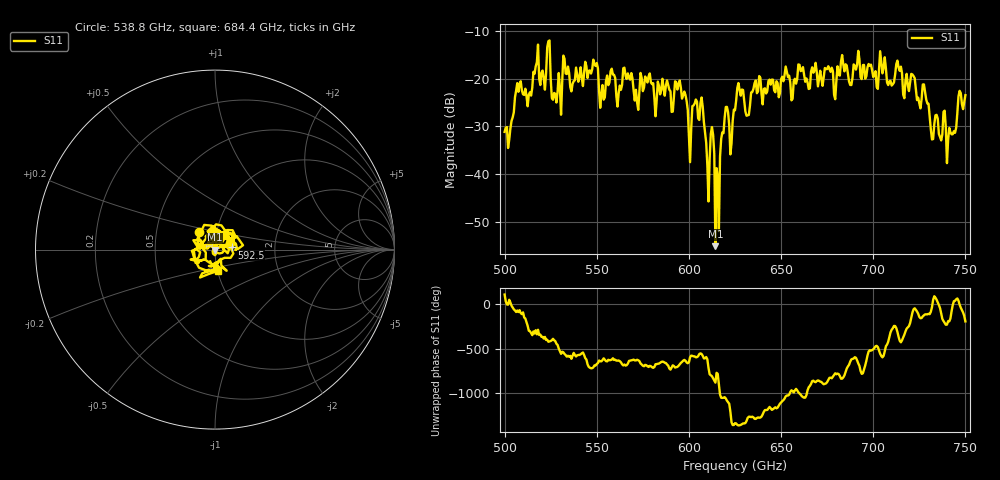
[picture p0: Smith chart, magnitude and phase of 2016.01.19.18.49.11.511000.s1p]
!Created with skrf (http://scikit-rf.org).
# GHz S RI R 50.0
!freq ReS11 ImS11
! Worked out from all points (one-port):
!   401 points, 500 GHz to 750 GHz, reference 50 ohm
!   lowest |S11| = -55.2 dB at 614.4 GHz (marker M1), VSWR 1.00, Z = 49.8 - j0.0504 ohm
!   |S11| at or under -10 dB: start of sweep to end of sweep
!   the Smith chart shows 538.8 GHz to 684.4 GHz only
!   S11 on the Smith chart (normalised r, x): 538.8 GHz: 0.83, +0.16; 592.5 GHz: 1.20, +0.03; 684.4 GHz: 1.01, -0.24
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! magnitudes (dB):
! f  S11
! 500 GHz  -31.2
! 516.9 GHz  -17.4
! 520.6 GHz  -18.3
! 523.8 GHz  -12.2
! 526.9 GHz  -23.0
! 531.2 GHz  -20.7
! 538.8 GHz  -17.7
! 549.4 GHz  -17.4
! 553.1 GHz  -21.4
! 558.8 GHz  -19.1
! 562.5 GHz  -21.5
! 592.5 GHz  -20.6
! 593.8 GHz  -22.3
! 600 GHz  -31.9
! 607.5 GHz  -26.0
! 610 GHz  -38.2
! 612.5 GHz  -30.2
! 614.4 GHz  -55.2
! 615.6 GHz  -40.6
! 619.4 GHz  -28.3
! 623.1 GHz  -33.6
! 625 GHz  -26.7
! 656.2 GHz  -24.3
! 684.4 GHz  -18.5
! 687.5 GHz  -21.3
! 718.8 GHz  -21.4
! 741.2 GHz  -30.4
! 750 GHz  -23.5
